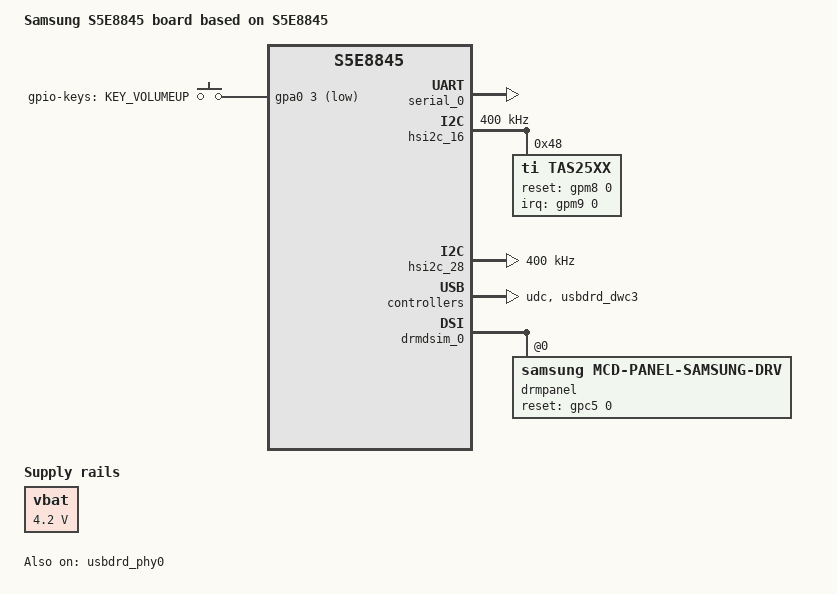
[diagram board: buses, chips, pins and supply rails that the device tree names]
/*
 * SAMSUNG S5E8845 SoC device tree source
 *
 * Copyright (c) 2023 Samsung Electronics Co., Ltd.
 *             http://www.samsung.com
 *
 * SAMSUNG S5E9945 SoC device nodes are listed in this file.
 * EXYNOS based board files can include this file and provide
 * values for board specfic bindings.
 *
 * This program is free software; you can redistribute it and/or modify
 * it under the terms of the GNU General Public License version 2 as
 * published by the Free Software Foundation.
 */

#include <dt-bindings/clock/s5e8845.h>
#include <dt-bindings/interrupt-controller/s5e8845.h>
#include <dt-bindings/gpio/gpio.h>
//#include "../../exynos/battery_data_erd8845_common_s2mf301.dtsi"
#include "../../exynos/board/erd/s5e8845-erd8845-gnss.dtsi"
//#include <dt-bindings/pci/pci.h>
//#include "../../exynos/board/erd/camera/s5e8845-erd8845-camera.dtsi"
#include "../../exynos/board/erd/s5e8845-cp-s5328ap-sipc.dtsi"
#include "../s5e8845-sec_pm_common.dtsi"
#include "../s5e8845_wakeup_cpu_allocator.dtsi"

#define BOARD_ID	0x0

/ {
	compatible = "samsung,armv8", "samsung,s5e8845";
	board_id = <BOARD_ID>;
	board_rev = <0x0>;

	fragment@model {
		target-path = "/";
		__overlay__ {
			#address-cells = <2>;
			#size-cells = <1>;

			model = "Samsung S5E8845 board based on S5E8845";

			gpio_keys {
				status = "okay";
				compatible = "gpio-keys";
				pinctrl-names = "default";
				pinctrl-0 = <&key_volup>;

				button@3 {
					label = "gpio-keys: KEY_VOLUMEUP";
					linux,code = <115>;
					gpios = <&gpa0 3 0xf>;
				};
			};

			sec-reboot {
				compatible = "samsung,sec-reboot";
				samsung,syscon-phandle = <&pmu_system_controller>;
				shutdown-offset = <0x3F90>; /* PS_HOLD_CONTROL */
				shutdown-trigger = <0x100>; /* PS_HOLD_DATA_BIT */
				magic-inform = <0xB8>; /* INFORM2 */
				panic-inform = <0xBC>; /* INFORM3 */
			};

			vbat: vbat {
				compatible = "regulator-fixed";
				regulator-name = "VBAT";
				regulator-min-microvolt = <4200000>;
				regulator-max-microvolt = <4200000>;
				regulator-boot-on;
			};

			dummy_audio_codec: audio-codec-dummy {
				compatible = "snd-soc-dummy";
				#sound-dai-cells = <0>;
			};

			dummy_audio_cpu: audio-cpu-dummy {
				compatible = "samsung,dummy-cpu";
				#sound-dai-cells = <0>;
			};

			abox_synchronized_ipc_ti: abox_synchronized_ipc_ti {
				compatible = "samsung,abox-synchronized-ipc-ti";
				#sound-dai-cells = <1>;
				abox = <&abox>;
				status = "okay";
			};

			sound {
				compatible = "samsung,exynos8845-audio";

				/* clock-names = "xclkout"; */
				/* clocks = <&clock OSC_AUD>; */

				MICBIAS1-supply = <&l30_reg>;
				MICBIAS2-supply = <&l30_reg>;
				MICBIAS3-supply = <&l30_reg>;

				/* Trick for probe order */
				//dmas = <&dp_dma0>;

				samsung,routing =
					"DMIC1", "MICBIAS1",
					"DMIC2", "MICBIAS2",
					"DMIC3", "MICBIAS3",
					//"RECEIVER", "Left SPK",
					//"SPEAKER", "Right SPK",
					"BLUETOOTH SPK", "ABOX UAIF2 Playback",
					"ABOX UAIF2 Capture", "BLUETOOTH MIC",
					"BLUETOOTH SPK", "ABOX UAIF3 Playback",
					"ABOX UAIF3 Capture", "BLUETOOTH MIC",
					"USB SPK", "ABOX USB Playback",
					"ABOX USB Capture", "USB MIC",
					"FWD SPK", "ABOX FWD Playback",
					"ABOX FWD Capture", "FWD MIC",
					"VTS Virtual Output", "VTS Virtual Output Mux",
					"PAD DPDM", "DMIC1",
					"PAD DPDM", "DMIC2",
					"PAD DPDM", "DMIC3";
					//"PAD DPDM", "DMIC4";

				samsung,aux = <&abox_effect &abox_tplg>;

				rdma0 {
					cpu {
						sound-dai = <&abox_rdma_0 0>;
					};
					platform {
						sound-dai = <&abox_rdma_0 0>;
					};
				};
				rdma1 {
					cpu {
						sound-dai = <&abox_rdma_1 0>;
					};
					platform {
						sound-dai = <&abox_rdma_1 0>;
					};
				};
				rdma2 {
					cpu {
						sound-dai = <&abox_rdma_2 0>;
					};
					platform {
						sound-dai = <&abox_rdma_2 0>;
					};
				};
				rdma3 {
					cpu {
						sound-dai = <&abox_rdma_3 0>;
					};
					platform {
						sound-dai = <&abox_rdma_3 0>;
					};
				};
				rdma4 {
					cpu {
						sound-dai = <&abox_rdma_4 0>;
					};
					platform {
						sound-dai = <&abox_rdma_4 0>;
					};
				};
				rdma5 {
					cpu {
						sound-dai = <&abox_rdma_5 0>;
					};
					platform {
						sound-dai = <&abox_rdma_5 0>;
					};
				};
				rdma6 {
					cpu {
						sound-dai = <&abox_rdma_6 0>;
					};
					platform {
						sound-dai = <&abox_rdma_6 0>;
					};
				};
				rdma7 {
					cpu {
						sound-dai = <&abox_rdma_7 0>;
					};
					platform {
						sound-dai = <&abox_rdma_7 0>;
					};
				};
				rdma8 {
					cpu {
						sound-dai = <&abox_rdma_8 0>;
					};
					platform {
						sound-dai = <&abox_rdma_8 0>;
					};
				};
				rdma9 {
					cpu {
						sound-dai = <&abox_rdma_9 0>;
					};
					platform {
						sound-dai = <&abox_rdma_9 0>;
					};
				};
				rdma10 {
					cpu {
						sound-dai = <&abox_rdma_10 0>;
					};
					platform {
						sound-dai = <&abox_rdma_10 0>;
					};
				};
				rdma11 {
					cpu {
						sound-dai = <&abox_rdma_11 0>;
					};
					platform {
						sound-dai = <&abox_rdma_11 0>;
					};
				};
				rdma12 {
					cpu {
						sound-dai = <&abox_rdma_12 0>;
					};
					platform {
						sound-dai = <&abox_rdma_12 0>;
					};
				};
				rdma13 {
					cpu {
						sound-dai = <&abox_rdma_13 0>;
					};
					platform {
						sound-dai = <&abox_rdma_13 0>;
					};
				};
				rdma14 {
					cpu {
						sound-dai = <&abox_rdma_14 0>;
					};
					platform {
						sound-dai = <&abox_rdma_14 0>;
					};
				};
				rdma15 {
					cpu {
						sound-dai = <&abox_rdma_15 0>;
					};
					platform {
						sound-dai = <&abox_rdma_15 0>;
					};
				};
				wdma0 {
					cpu {
						sound-dai = <&abox_wdma_0 0>;
					};
					platform {
						sound-dai = <&abox_wdma_0 0>;
					};
				};
				wdma1 {
					cpu {
						sound-dai = <&abox_wdma_1 0>;
					};
					platform {
						sound-dai = <&abox_wdma_1 0>;
					};
				};
				wdma2 {
					cpu {
						sound-dai = <&abox_wdma_2 0>;
					};
					platform {
						sound-dai = <&abox_wdma_2 0>;
					};
				};
				wdma3 {
					cpu {
						sound-dai = <&abox_wdma_3 0>;
					};
					platform {
						sound-dai = <&abox_wdma_3 0>;
					};
				};
				wdma4 {
					cpu {
						sound-dai = <&abox_wdma_4 0>;
					};
					platform {
						sound-dai = <&abox_wdma_4 0>;
					};
				};
				wdma5 {
					cpu {
						sound-dai = <&abox_wdma_5 0>;
					};
					platform {
						sound-dai = <&abox_wdma_5 0>;
					};
				};
				wdma6 {
					cpu {
						sound-dai = <&abox_wdma_6 0>;
					};
					platform {
						sound-dai = <&abox_wdma_6 0>;
					};
				};
				wdma7 {
					cpu {
						sound-dai = <&abox_wdma_7 0>;
					};
					platform {
						sound-dai = <&abox_wdma_7 0>;
					};
				};
				wdma8 {
					cpu {
						sound-dai = <&abox_wdma_8 0>;
					};
					platform {
						sound-dai = <&abox_wdma_8 0>;
					};
				};
				wdma9 {
					cpu {
						sound-dai = <&abox_wdma_9 0>;
					};
					platform {
						sound-dai = <&abox_wdma_9 0>;
					};
				};
				wdma10 {
					cpu {
						sound-dai = <&abox_wdma_10 0>;
					};
					platform {
						sound-dai = <&abox_wdma_10 0>;
					};
				};
				wdma11 {
					cpu {
						sound-dai = <&abox_wdma_11 0>;
					};
					platform {
						sound-dai = <&abox_wdma_11 0>;
					};
				};
				vts0 {
					cpu {
						sound-dai = <&vts 0>;
					};
					platform {
						sound-dai = <&vts_dma0>;
					};
				};
				vts1 {
					cpu {
						sound-dai = <&vts 1>;
					};
					platform {
						sound-dai = <&vts_dma1>;
					};
				};
				/*
				vts2 {
					cpu {
						sound-dai = <&vts 2>;
					};
					platform {
						sound-dai = <&vts_dma2>;
					};
				};
				*/
				/*
				dp0_audio {
					cpu {
						sound-dai = <&displayport_adma 0>;
					};
					platform {
						sound-dai = <&dp_dma0>;
					};
				};
				*/
				dual0 {
					cpu {
						sound-dai = <&abox_dual_0>;
					};
					platform {
						sound-dai = <&abox_dual_0>;
					};
				};
				dual1 {
					cpu {
						sound-dai = <&abox_dual_1>;
					};
					platform {
						sound-dai = <&abox_dual_1>;
					};
				};
				dual2 {
					cpu {
						sound-dai = <&abox_dual_2>;
					};
					platform {
						sound-dai = <&abox_dual_2>;
					};
				};
				dual3 {
					cpu {
						sound-dai = <&abox_dual_3>;
					};
					platform {
						sound-dai = <&abox_dual_3>;
					};
				};
				dual4 {
					cpu {
						sound-dai = <&abox_dual_4>;
					};
					platform {
						sound-dai = <&abox_dual_4>;
					};
				};
				dual5 {
					cpu {
						sound-dai = <&abox_dual_5>;
					};
					platform {
						sound-dai = <&abox_dual_5>;
					};
				};
				dual6 {
					cpu {
						sound-dai = <&abox_dual_6>;
					};
					platform {
						sound-dai = <&abox_dual_6>;
					};
				};
				dual7 {
					cpu {
						sound-dai = <&abox_dual_7>;
					};
					platform {
						sound-dai = <&abox_dual_7>;
					};
				};
				dual8 {
					cpu {
						sound-dai = <&abox_dual_8>;
					};
					platform {
						sound-dai = <&abox_dual_8>;
					};
				};
				dual9 {
					cpu {
						sound-dai = <&abox_dual_9>;
					};
					platform {
						sound-dai = <&abox_dual_9>;
					};
				};
				dual10 {
					cpu {
						sound-dai = <&abox_dual_10>;
					};
					platform {
						sound-dai = <&abox_dual_10>;
					};
				};
				dual11 {
					cpu {
						sound-dai = <&abox_dual_11>;
					};
					platform {
						sound-dai = <&abox_dual_11>;
					};
				};
				ddma0 {
					cpu {
						sound-dai = <&abox_ddma_0>;
					};
					platform {
						sound-dai = <&abox_ddma_0>;
					};
				};
				ddma1 {
					cpu {
						sound-dai = <&abox_ddma_1>;
					};
					platform {
						sound-dai = <&abox_ddma_1>;
					};
				};
				ddma2 {
					cpu {
						sound-dai = <&abox_ddma_2>;
					};
					platform {
						sound-dai = <&abox_ddma_2>;
					};
				};
				ddma3 {
					cpu {
						sound-dai = <&abox_ddma_3>;
					};
					platform {
						sound-dai = <&abox_ddma_3>;
					};
				};
				ddma4 {
					cpu {
						sound-dai = <&abox_ddma_4>;
					};
					platform {
						sound-dai = <&abox_ddma_4>;
					};
				};
				ddma5 {
					cpu {
						sound-dai = <&abox_ddma_5>;
					};
					platform {
						sound-dai = <&abox_ddma_5>;
					};
				};
				uaif0 {
					format = "i2s";
					cpu {
						sound-dai = <&abox_uaif_0>;
					};
				};
				uaif1 {
					format = "i2s";
					cpu {
						sound-dai = <&abox_uaif_1>;
					};
					codec {
						sound-dai = <&tas25xx 0>;
					};
				};
				uaif2 {
					format = "i2s";
					cpu {
						sound-dai = <&abox_uaif_2>;
					};
				};
				uaif3 {
					format = "i2s";
					cpu {
						sound-dai = <&abox_uaif_3>;
					};
				};
				uaif4 {
					format = "dsp_a";
					cpu {
						sound-dai = <&abox_uaif_4>;
					};
				};
				uaif5 {
					format = "dsp_a";
					cpu {
						sound-dai = <&abox_uaif_5>;
					};
				};
				uaif6 {
					format = "dsp_a";
					bitclock-master;
					bitclock-inversion;
					frame-master;

					cpu {
						sound-dai = <&abox_uaif_6>;
					};
					codec {
						sound-dai = <&vts_s_lif 0>;
					};
				};
				dsif0 {
					format = "pdm";
					cpu {
						sound-dai = <&abox_dsif>;
					};
				};
				udma_rd0 {
					cpu {
						sound-dai = <&abox_udma_rd_0>;
					};
				};
				udma_wr0 {
					cpu {
						sound-dai = <&abox_udma_wr_0>;
					};
				};
				udma_wr_dual0 {
					cpu {
						sound-dai = <&abox_udma_wr_dual_0>;
					};
				};
				udma_wr_dbg0 {
					cpu {
						sound-dai = <&abox_udma_wr_debug_0>;
					};
				};
				rdma0_be {
					cpu {
						sound-dai = <&abox_rdma_0 1>;
					};
					platform {
						sound-dai = <&abox_rdma_0 1>;
					};
				};
				rdma1_be {
					cpu {
						sound-dai = <&abox_rdma_1 1>;
					};
					platform {
						sound-dai = <&abox_rdma_1 1>;
					};
				};
				rdma2_be {
					cpu {
						sound-dai = <&abox_rdma_2 1>;
					};
					platform {
						sound-dai = <&abox_rdma_2 1>;
					};
				};
				rdma3_be {
					cpu {
						sound-dai = <&abox_rdma_3 1>;
					};
					platform {
						sound-dai = <&abox_rdma_3 1>;
					};
				};
				rdma4_be {
					cpu {
						sound-dai = <&abox_rdma_4 1>;
					};
					platform {
						sound-dai = <&abox_rdma_4 1>;
					};
				};
				rdma5_be {
					cpu {
						sound-dai = <&abox_rdma_5 1>;
					};
					platform {
						sound-dai = <&abox_rdma_5 1>;
					};
				};
				rdma6_be {
					cpu {
						sound-dai = <&abox_rdma_6 1>;
					};
					platform {
						sound-dai = <&abox_rdma_6 1>;
					};
				};
				rdma7_be {
					cpu {
						sound-dai = <&abox_rdma_7 1>;
					};
					platform {
						sound-dai = <&abox_rdma_7 1>;
					};
				};
				rdma8_be {
					cpu {
						sound-dai = <&abox_rdma_8 1>;
					};
					platform {
						sound-dai = <&abox_rdma_8 1>;
					};
				};
				rdma9_be {
					cpu {
						sound-dai = <&abox_rdma_9 1>;
					};
					platform {
						sound-dai = <&abox_rdma_9 1>;
					};
				};
				rdma10_be {
					cpu {
						sound-dai = <&abox_rdma_10 1>;
					};
					platform {
						sound-dai = <&abox_rdma_10 1>;
					};
				};
				rdma11_be {
					cpu {
						sound-dai = <&abox_rdma_11 1>;
					};
					platform {
						sound-dai = <&abox_rdma_11 1>;
					};
				};
				rdma12_be {
					cpu {
						sound-dai = <&abox_rdma_12 1>;
					};
					platform {
						sound-dai = <&abox_rdma_12 1>;
					};
				};
				rdma13_be {
					cpu {
						sound-dai = <&abox_rdma_13 1>;
					};
					platform {
						sound-dai = <&abox_rdma_13 1>;
					};
				};
				rdma14_be {
					cpu {
						sound-dai = <&abox_rdma_14 1>;
					};
					platform {
						sound-dai = <&abox_rdma_14 1>;
					};
				};
				rdma15_be {
					cpu {
						sound-dai = <&abox_rdma_15 1>;
					};
					platform {
						sound-dai = <&abox_rdma_15 1>;
					};
				};
				wdma0_be {
					cpu {
						sound-dai = <&abox_wdma_0 1>;
					};
					platform {
						sound-dai = <&abox_wdma_0 1>;
					};
				};
				wdma1_be {
					cpu {
						sound-dai = <&abox_wdma_1 1>;
					};
					platform {
						sound-dai = <&abox_wdma_1 1>;
					};
				};
				wdma2_be {
					cpu {
						sound-dai = <&abox_wdma_2 1>;
					};
					platform {
						sound-dai = <&abox_wdma_2 1>;
					};
				};
				wdma3_be {
					cpu {
						sound-dai = <&abox_wdma_3 1>;
					};
					platform {
						sound-dai = <&abox_wdma_3 1>;
					};
				};
				wdma4_be {
					cpu {
						sound-dai = <&abox_wdma_4 1>;
					};
					platform {
						sound-dai = <&abox_wdma_4 1>;
					};
				};
				wdma5_be {
					cpu {
						sound-dai = <&abox_wdma_5 1>;
					};
					platform {
						sound-dai = <&abox_wdma_5 1>;
					};
				};
				wdma6_be {
					cpu {
						sound-dai = <&abox_wdma_6 1>;
					};
					platform {
						sound-dai = <&abox_wdma_6 1>;
					};
				};
				wdma7_be {
					cpu {
						sound-dai = <&abox_wdma_7 1>;
					};
					platform {
						sound-dai = <&abox_wdma_7 1>;
					};
				};
				wdma8_be {
					cpu {
						sound-dai = <&abox_wdma_8 1>;
					};
					platform {
						sound-dai = <&abox_wdma_8 1>;
					};
				};
				wdma9_be {
					cpu {
						sound-dai = <&abox_wdma_9 1>;
					};
					platform {
						sound-dai = <&abox_wdma_9 1>;
					};
				};
				wdma10_be {
					cpu {
						sound-dai = <&abox_wdma_10 1>;
					};
					platform {
						sound-dai = <&abox_wdma_10 1>;
					};
				};
				wdma11_be {
					cpu {
						sound-dai = <&abox_wdma_11 1>;
					};
					platform {
						sound-dai = <&abox_wdma_11 1>;
					};
				};
				usb {
					cpu {
						sound-dai = <&abox 0>;
					};
				};
				fwd {
					cpu {
						sound-dai = <&abox 1>;
					};
				};
			}; /* end of sound */

			abox_synchronized_ipc: abox_synchronized_ipc {
				compatible = "samsung,abox-synchronized-ipc";
				status = "disabled";
				#sound-dai-cells = <1>;
				abox = <&abox>;
			};

			sec-audio-sysfs {
				compatible = "samsung,audio-sysfs";
				status = "okay";
				audio,no-earjack;
				audio,num-amp = <2>;
			};

			sec-audio-debug {
				compatible = "samsung,audio-debug";
				status = "okay";

				abox_dbg_size_min = <0x600000>;
				abox_slog_size_min = <0x0>;
			};

			usb_hs_tune:hs_tune {
				hs_tune_cnt = <7>;
				/* value = <device host> */
				hs_tune1 {
					tune_name = "tx_pre_emp";
					tune_value = <0x3 0x3>;
				};

				hs_tune2 {
					tune_name = "tx_vref";
					tune_value = <0xd 0xd>;
				};

				hs_tune3 {
					tune_name = "rx_sqrx";
					tune_value = <0x7 0x7>;
				};

				hs_tune4 {
					tune_name = "utmi_clk";
					tune_value = <0x1 0x1>;
				};

				hs_tune5 {
					tune_name = "compdis";
					tune_value = <0x7 0x7>;
				};

				hs_tune6 {
					tune_name = "tx_res";
					tune_value = <0x1 0x1>;
				};

				hs_tune7 {
					tune_name = "tx_rise";
					tune_value = <0x1 0x1>;
				};
			};

		};

	};
};

&chosen {
	bootargs_ext = "";
};

&serial_0 {
	status = "okay";
};

&pinctrl_1 {
	rcv_amp_en: rcv-amp-en {
		samsung,pins ="gpm8-0";
		samsung,pin-function = <1>;
		samsung,pin-val = <1>;
		samsung,pin-pud = <0>;
		samsung,pin-con-pdn = <3>;
		samsung,pin-pud-pdn = <0>;
	};
	spk_amp_en: spk-amp-en {
		samsung,pins ="gpm5-0";
		samsung,pin-function = <1>;
		samsung,pin-val = <1>;
		samsung,pin-pud = <0>;
		samsung,pin-con-pdn = <3>;
		samsung,pin-pud-pdn = <0>;
	};
	spk_amp_int: spk-amp-int {
		samsung,pins ="gpm9-0";
		samsung,pin-function = <0xf>;
		samsung,pin-pud = <3>;
		samsung,pin-pud-pdn = <3>;
	};
	dmic_en: dmic-en {
		samsung,pins ="gpm17-0";
		samsung,pin-function = <1>;
		samsung,pin-pud = <0>;
		samsung,pin-val = <1>;
	};
	dmic_en_idle: dmic-en-idle {
		samsung,pins ="gpm17-0";
		samsung,pin-function = <1>;
		samsung,pin-pud = <0>;
		samsung,pin-val = <0>;
	};
};
&vts {
	pinctrl-names = "dmic0_default",
		"dmic1_default",
		"dmic2_default",
		"amic0_default",
		"amic1_default",
		"amic2_default",
		"dmic0_idle",
		"dmic1_idle",
		"dmic2_idle",
		"default";
	pinctrl-0 = <&dmic_bus_clk0 &dmic_pdm0_bus &dmic_en>;
	pinctrl-1 = <&dmic_bus_clk2 &dmic_pdm2_bus &dmic_en>;
	pinctrl-2 = <&dmic_bus_clk2 &dmic_pdm2_bus>;
	pinctrl-3 = <&dmic_bus_clk0 &amic_pdm0_bus>;
	pinctrl-4 = <&dmic_bus_clk1 &amic_pdm1_bus>;
	pinctrl-5 = <&dmic_bus_clk2 &amic_pdm2_bus>;
	pinctrl-6 = <&dmic_bus_clk0_idle &dmic_pdm0_idle &dmic_en_idle>;
	pinctrl-7 = <&dmic_bus_clk2_idle &dmic_pdm2_idle &dmic_en_idle>;
	pinctrl-8 = <&dmic_bus_clk2_idle &dmic_pdm2_idle>;
	pinctrl-9 = <>;

};
/*
&pinctrl_3 {

	aud_i2s0_bus:aud-i2s0-bus {
		samsung,pins = "gpb0-0", "gpb0-1", "gpb0-2", "gpb0-3";
		samsung,pin-function = <2>;
		samsung,pin-pud = <0>;
	};

	aud_i2s0_idle:aud-i2s0-idle {
		samsung,pins = "gpb0-0", "gpb0-1", "gpb0-2", "gpb0-3";
		samsung,pin-function = <0>;
		samsung,pin-pud = <1>;
	};

	aud_i2s1_bus:aud-i2s1-bus {
		samsung,pins = "gpb1-0", "gpb1-1", "gpb1-2", "gpb1-3";
		samsung,pin-function = <2>;
		samsung,pin-pud = <0>;
	};

	aud_i2s1_idle:aud-i2s1-idle {
		samsung,pins = "gpb1-0", "gpb1-1", "gpb1-2", "gpb1-3";
		samsung,pin-function = <0>;
		samsung,pin-pud = <1>;
	};

	aud_codec_mclk:aud-codec-mclk {
		samsung,pins = "gpb0-4";
		samsung,pin-function = <2>;
		samsung,pin-pud = <1>;
	};

	aud_codec_mclk_idle:aud-codec-mclk-idle {
		samsung,pins = "gpb0-4";
		samsung,pin-function = <0>;
		samsung,pin-pud = <1>;
	};
};


&abox_uaif_1 {
	pinctrl-names = "active", "idle";
	pinctrl-0 = <&aud_i2s1_bus>;
	pinctrl-1 = <&aud_i2s1_idle>;
};
*/
&abox {
	samsung,conf-file-name = "abox_solution_ti.conf", "abox_system.conf";
};

&hsi2c_16 {
	#address-cells = <1>;
	#size-cells = <0>;
	status = "okay";
	clock-frequency = <400000>;

	tfa98xx@34 {
		status = "disabled";
	};

	tfa98xx@35 {
		status = "disabled";
	};

	tas25xx: tas25xx@48 {
		pinctrl-names = "default";
		pinctrl-0 = <&rcv_amp_en &spk_amp_en &spk_amp_int>;
		#sound-dai-cells = <1>;
		compatible = "ti,tas25xx";
		reg = <0x48>;
		ti,max-channels = <2>;
		ti,channel-0 = <0x49>;
		ti,channel-1 = <0x48>;
		ti,reset-gpio = <&gpm8 0 0>;
		ti,irq-gpio = <&gpm9 0 0>;
		ti,reset-gpio2 = <&gpm5 0 0>;
		status = "okay";
	};

};


&hsi2c_28 {
	#address-cells = <1>;
	#size-cells = <0>;
	status = "ok";
	clock-frequency = <400000>;
	samsung,reset-before-trans;
	samsung,stop-after-trans;	/* LSI IC ONLY */
};

&udc {
	status = "okay";
};

&usbdrd_dwc3 {
	status = "okay";
	maximum-speed = "high-speed";
	usb_audio_offloading = <1>;
	abox = <&abox>;
	samsung,abox-gic = <&abox_gic>;
	xhci_use_uram_for_audio = <1>;

	vdd12_usb-supply = <&l23_reg>;
	vdd18_usb-supply = <&l4_reg>;
	vdd33_usb-supply = <&l6_reg>;
};

&usbdrd_phy0 {
	status = "okay";
	hs_tune_param = <&usb_hs_tune>;

	low_power_call = <1>;

	vdd12_usb-supply = <&l23_reg>;
	vdd18_usb-supply = <&l4_reg>;
	vdd33_usb-supply = <&l6_reg>;
};

&pinctrl_0 {
	key_volup: key-volup {
		samsung,pins = "gpa0-3";
		samsung,pin-function = <0xf>;
		samsung,pin-pud = <3>;
		samsung,pin-drv = <3>;
	};
	attn_irq: attn-irq {
		samsung,pins = "gpc10-0";
		samsung,pin-function = <0xf>;
		samsung,pin-pud = <3>;
		samsung,pin-drv = <3>;
	};

	attn_input: attn-input {
		samsung,pins = "gpc10-0";
		samsung,pin-function = <0>;
		samsung,pin-pud = <1>;
	};

	dc_irq: dc-irq {
		samsung,pins = "gpa0-6";
		samsung,pin-function = <0>;
		samsung,pin-pud = <0>;
		samsung,pin-drv = <0>;
	};
};

&drmdsim_0 {
	#address-cells = <1>;
	#size-cells = <0>;
	dsi-burst-cmd = <1>;
	drmpanel {
		compatible = "samsung,mcd-panel-samsung-drv";
		/* reset, power */
		reset-gpios = <&gpc5 0 GPIO_ACTIVE_HIGH>;
		reg = <0>;
	};
};

/* RCD */
&drmdpp12 {
	/* RCD BLOCK mode configurations, based on panel size*/
	rcd_block_mode_en = <1>;

	/* block mode start offset (x,y) */
	rcd_block_mode_x  = <0>;
	rcd_block_mode_y  = <128>;

	/* block mode width & height from offset (x,y) */
	rcd_block_mode_w  = <1080>;
	rcd_block_mode_h  = <2084>;
};

&dwmmc_2 {
	card-detect-invert;
	sec-sd-slot-type = <3>; /* Hybrid Tray SD slot */
};

&ufs {
	vcc-supply = <&l29_reg>;
	vccq-supply = <&l31_reg>;
};

&cpif {
	pinctrl-names = "default";
		pinctrl-0 = <&tray_detect &usim1_en &usim2_en &fr1_rfic_reset &cp_ese_rst>;
};
